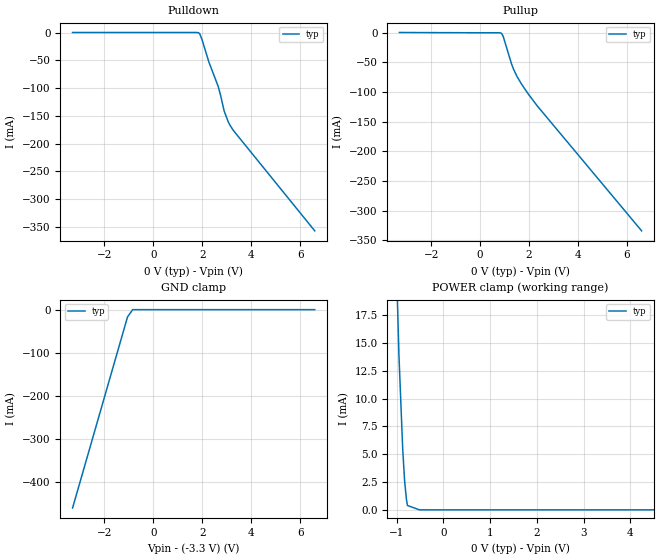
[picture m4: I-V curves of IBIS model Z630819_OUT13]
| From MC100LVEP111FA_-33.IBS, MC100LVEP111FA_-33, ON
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| (C) COPYRIGHT 1993-2000
| MENTOR GRAPHICS CORPORATION
| ICX STANDARD LIBRARY, ICX PROJECT MODELING,
| ICX CUSTOM MODELING, ICX VENDOR MODEL
| ALL RIGHTS RESERVED.
| THE FOLLOWING ARE TRADEMARKS OR SERVICE MARKS OF
| MENTOR GRAPHICS CORPORATION:ICX (R), ICX STANDARD
| LIBRARY(R), ICX PROJECT MODELING(R), ICX CUSTOM
| MODELING(R), qualityIBIS(TM), MODELVIEWER(TM),
| AND MODELEDITOR(TM)
| ALL COPIES OF SOFTWARE, INCLUDING BUT NOT LIMITED TO
| ANY MODIFICATIONS, ENHANCEMENTS OR DERIVATIVE WORKS,
| MUST CONTAIN ALL MENTOR GRAPHICS CORPORATION'S
| NOTICES AND LEGENDS, INCLUDING THOSE EMBEDDED IN
| SOFTWARE AND THOSE AFFIXED TO SOFTWARE MEDIUM
| AND CONTAINER, AS RECEIVED FROM MENTOR GRAPHICS
| CORPORATION.
| Model Application Version 1.89 2/18/99.
[Model] Z630819_OUT13
Model_type Output_ECL
Vref=-2.000V
Rref=50.00ohms
Cref=0.000F
Vmeas=-1.420V
C_comp 2.000pF NA NA
| variable typ   min   max
[Voltage Range] -3.300V NA NA
[POWER Clamp Reference] 0.000V NA NA
[Pullup Reference] 0.000V NA NA
[Pulldown Reference] 0.000V NA NA
[GND Clamp Reference] -3.300V NA NA
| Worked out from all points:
|   GND clamp passes 1 mA (typ) near -0.86 V on its own axis
|   POWER clamp passes 1 mA (typ) near -0.79 V on its own axis
[GND Clamp]
-3.3V     -459.2mA   NA         NA
-1.054V   -16.96mA   NA         NA
-843.2mV  0A         NA         NA
6.6V      0A         NA         NA
[Pulldown]
-3.3V     0A         NA         NA
1.861V    -800uA     NA         NA
1.901V    -2.6mA     NA         NA
2.003V    -14.2mA    NA         NA
2.266V    -52.5mA    NA         NA
2.651V    -96.8mA    NA         NA
2.753V    -113.5mA   NA         NA
2.895V    -141.1mA   NA         NA
3.057V    -160.1mA   NA         NA
3.138V    -167.2mA   NA         NA
3.28V     -176.7mA   NA         NA
6.6V      -357mA     NA         NA
[Pullup]
-3.3V     450.5uA    NA         NA
771mV     0A         NA         NA
873mV     -1.2mA     NA         NA
954mV     -7.8mA     NA         NA
1.278V    -52.1mA    NA         NA
1.359V    -60.9mA    NA         NA
1.501V    -73.4mA    NA         NA
1.704V    -87.4mA    NA         NA
1.987V    -104.4mA   NA         NA
2.332V    -123.2mA   NA         NA
6.6V      -333.9mA   NA         NA
[POWER Clamp]
-3.3V     370.2mA    NA         NA
-952mV    13.97mA    NA         NA
-871mV    5.478mA    NA         NA
-830mV    2.584mA    NA         NA
-790mV    888.9uA    NA         NA
-769mV    391.8uA    NA         NA
-512.7mV  0A         NA         NA
6.6V      0A         NA         NA
[Ramp]
| variable typ min max
dV/dt_r 479.4m/202p NA NA
dV/dt_f 479.4m/194p NA NA
R_load = 50.00Ohms
